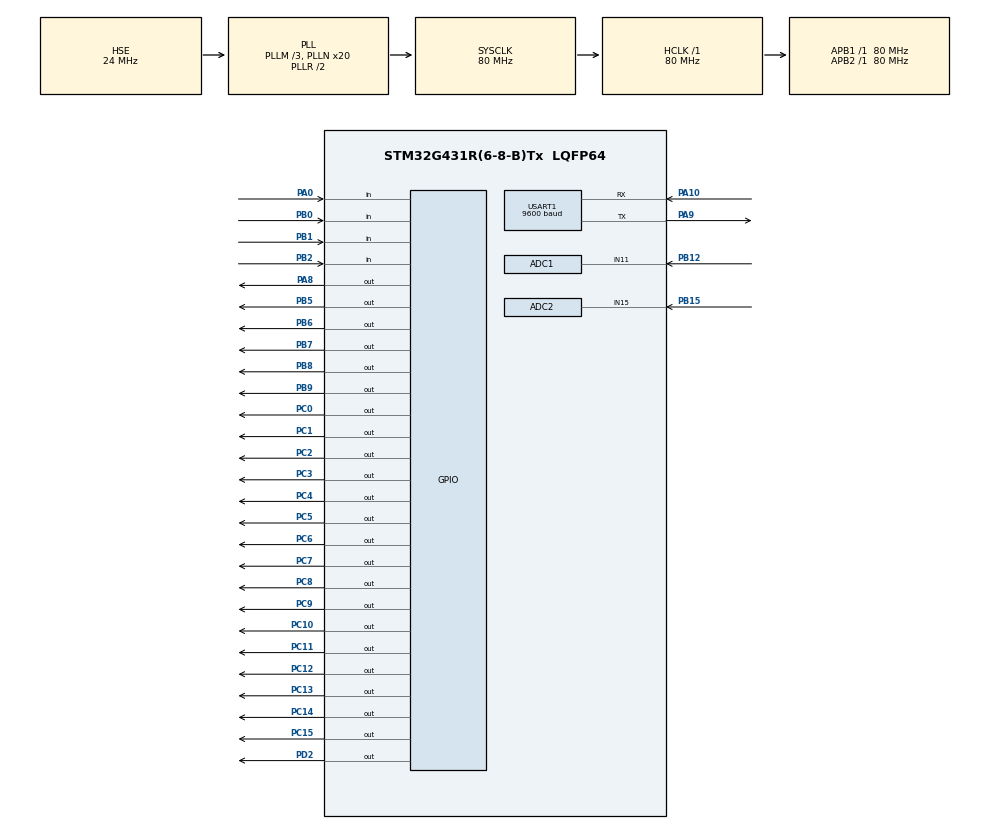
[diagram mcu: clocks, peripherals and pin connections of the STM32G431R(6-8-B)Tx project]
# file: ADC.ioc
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ADC1.Channel-3\#ChannelRegularConversion=ADC_CHANNEL_11
ADC1.ContinuousConvMode=DISABLE
ADC1.NbrOfConversionFlag=1
ADC1.OffsetNumber-3\#ChannelRegularConversion=ADC_OFFSET_NONE
ADC1.Rank-3\#ChannelRegularConversion=1
ADC1.SamplingTime-3\#ChannelRegularConversion=ADC_SAMPLETIME_2CYCLES_5
ADC1.master=1
ADC2.Channel-1\#ChannelRegularConversion=ADC_CHANNEL_15
ADC2.NbrOfConversionFlag=1
ADC2.OffsetNumber-1\#ChannelRegularConversion=ADC_OFFSET_NONE
ADC2.Rank-1\#ChannelRegularConversion=1
ADC2.SamplingTime-1\#ChannelRegularConversion=ADC_SAMPLETIME_2CYCLES_5
Mcu.Family=STM32G4
Mcu.Name=STM32G431R(6-8-B)Tx
Mcu.Package=LQFP64
NVIC.PriorityGroup=NVIC_PRIORITYGROUP_4
NVIC.USART1_IRQn=true\:0\:0\:false\:false\:true\:true\:true\:true
PA0.GPIO_PuPd=GPIO_PULLUP
PA0.Signal=GPIO_Input
PA10.Mode=Asynchronous
PA10.Signal=USART1_RX
PA8.Signal=GPIO_Output
PA9.Mode=Asynchronous
PA9.Signal=USART1_TX
PB0.GPIO_PuPd=GPIO_PULLUP
PB0.Signal=GPIO_Input
PB1.GPIO_PuPd=GPIO_PULLUP
PB1.Signal=GPIO_Input
PB12.Mode=IN11-Single-Ended
PB12.Signal=ADC1_IN11
PB15.Mode=IN15-Single-Ended
PB15.Signal=ADC2_IN15
PB2.GPIO_PuPd=GPIO_PULLUP
PB2.Signal=GPIO_Input
PB5.Signal=GPIO_Output
PB6.Signal=GPIO_Output
PB7.Signal=GPIO_Output
PB8-BOOT0.Signal=GPIO_Output
PB9.Signal=GPIO_Output
PC0.Signal=GPIO_Output
PC1.Signal=GPIO_Output
PC10.PinState=GPIO_PIN_SET
PC10.Signal=GPIO_Output
PC11.PinState=GPIO_PIN_SET
PC11.Signal=GPIO_Output
PC12.PinState=GPIO_PIN_SET
PC12.Signal=GPIO_Output
PC13.PinState=GPIO_PIN_SET
PC13.Signal=GPIO_Output
PC14-OSC32_IN.PinState=GPIO_PIN_SET
PC14-OSC32_IN.Signal=GPIO_Output
PC15-OSC32_OUT.PinState=GPIO_PIN_SET
PC15-OSC32_OUT.Signal=GPIO_Output
PC2.Signal=GPIO_Output
PC3.Signal=GPIO_Output
PC4.Signal=GPIO_Output
PC5.Signal=GPIO_Output
PC6.Signal=GPIO_Output
PC7.Signal=GPIO_Output
PC8.PinState=GPIO_PIN_SET
PC8.Signal=GPIO_Output
PC9.PinState=GPIO_PIN_SET
PC9.Signal=GPIO_Output
PD2.Signal=GPIO_Output
PF0-OSC_IN.Mode=HSE-External-Oscillator
PF0-OSC_IN.Signal=RCC_OSC_IN
PF1-OSC_OUT.Mode=HSE-External-Oscillator
PF1-OSC_OUT.Signal=RCC_OSC_OUT
ProjectManager.HeapSize=0x200
ProjectManager.StackSize=0x400
ProjectManager.TargetToolchain=MDK-ARM V5.32
RCC.ADC12Freq_Value=80000000
RCC.AHBFreq_Value=80000000
RCC.APB1Freq_Value=80000000
RCC.APB1TimFreq_Value=80000000
RCC.APB2Freq_Value=80000000
RCC.APB2TimFreq_Value=80000000
RCC.CortexFreq_Value=80000000
RCC.EXTERNAL_CLOCK_VALUE=12288000
RCC.HCLKFreq_Value=80000000
RCC.HSE_VALUE=24000000
RCC.HSI48_VALUE=48000000
RCC.HSI_VALUE=16000000
RCC.LSE_VALUE=32768
RCC.PLLM=RCC_PLLM_DIV3
RCC.PLLN=20
RCC.PLLSourceVirtual=RCC_PLLSOURCE_HSE
RCC.SYSCLKFreq_VALUE=80000000
RCC.SYSCLKSource=RCC_SYSCLKSOURCE_PLLCLK
RCC.USBFreq_Value=80000000
RCC.VCOOutputFreq_Value=160000000
USART1.BaudRate=9600
USART1.VirtualMode-Asynchronous=VM_ASYNC
VP_SYS_VS_DBSignals.Mode=DisableDeadBatterySignals
board=custom

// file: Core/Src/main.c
/* USER CODE BEGIN Header */
/**
  ******************************************************************************
  * @file           : main.c
  * @brief          : Main program body
  ******************************************************************************
  * @attention
  *
  * Copyright (c) 2024 STMicroelectronics.
  * All rights reserved.
  *
  * This software is licensed under terms that can be found in the LICENSE file
  * in the root directory of this software component.
  * If no LICENSE file comes with this software, it is provided AS-IS.
  *
  ******************************************************************************
  */
/* USER CODE END Header */
#include "main.h"
#include "adc.h"
#include "usart.h"
#include "gpio.h"

/* USER CODE BEGIN Includes */
#include "led.h"
#include "key.h"
#include "myusart.h"
#include "lcd.h"
#include "i2c - hal.h"
#include "myadc.h"
#include "stdio.h"

/* USER CODE END Includes */

void SystemClock_Config(void);

int main(void)
{

  /* MCU Configuration--------------------------------------------------------*/

  /* Reset of all peripherals, Initializes the Flash interface and the Systick. */
  HAL_Init();

  /* Configure the system clock */
  SystemClock_Config();

  /* Initialize all configured peripherals */
  MX_GPIO_Init();
  MX_ADC1_Init();
  MX_ADC2_Init();
  MX_USART1_UART_Init();
  /* USER CODE BEGIN 2 */
    led_disp(0x00);
    LCD_Init();
    LCD_Clear(White);
    LCD_SetBackColor(White);
    LCD_SetTextColor(Blue2);
  /* USER CODE END 2 */

  /* Infinite loop */
  while (1)
  {

    /* USER CODE BEGIN 3 */
      char text[30];//字符数组
       sprintf(text,"      V:%.2f v      ",getADC(&hadc1));//R38（PB12）
     LCD_DisplayStringLine(Line6, (uint8_t *)text);//将text里面的数据打印到第6行

      sprintf(text,"      V:%.2f v     ",getADC(&hadc2));//R37(PB15)
     LCD_DisplayStringLine(Line7, (uint8_t *)text);//将text里面的数据打印到第7行

  }
  /* USER CODE END 3 */
}

void SystemClock_Config(void)
{
  RCC_OscInitTypeDef RCC_OscInitStruct = {0};
  RCC_ClkInitTypeDef RCC_ClkInitStruct = {0};

  /** Configure the main internal regulator output voltage
  */
  HAL_PWREx_ControlVoltageScaling(PWR_REGULATOR_VOLTAGE_SCALE1);

  /** Initializes the RCC Oscillators according to the specified parameters
  * in the RCC_OscInitTypeDef structure.
  */
  RCC_OscInitStruct.OscillatorType = RCC_OSCILLATORTYPE_HSE;
  RCC_OscInitStruct.HSEState = RCC_HSE_ON;
  RCC_OscInitStruct.PLL.PLLState = RCC_PLL_ON;
  RCC_OscInitStruct.PLL.PLLSource = RCC_PLLSOURCE_HSE;
  RCC_OscInitStruct.PLL.PLLM = RCC_PLLM_DIV3;
  RCC_OscInitStruct.PLL.PLLN = 20;
  RCC_OscInitStruct.PLL.PLLP = RCC_PLLP_DIV2;
  RCC_OscInitStruct.PLL.PLLQ = RCC_PLLQ_DIV2;
  RCC_OscInitStruct.PLL.PLLR = RCC_PLLR_DIV2;
  if (HAL_RCC_OscConfig(&RCC_OscInitStruct) != HAL_OK)
  {
    Error_Handler();
  }

  /** Initializes the CPU, AHB and APB buses clocks
  */
  RCC_ClkInitStruct.ClockType = RCC_CLOCKTYPE_HCLK|RCC_CLOCKTYPE_SYSCLK
                              |RCC_CLOCKTYPE_PCLK1|RCC_CLOCKTYPE_PCLK2;
  RCC_ClkInitStruct.SYSCLKSource = RCC_SYSCLKSOURCE_PLLCLK;
  RCC_ClkInitStruct.AHBCLKDivider = RCC_SYSCLK_DIV1;
  RCC_ClkInitStruct.APB1CLKDivider = RCC_HCLK_DIV1;
  RCC_ClkInitStruct.APB2CLKDivider = RCC_HCLK_DIV1;

  if (HAL_RCC_ClockConfig(&RCC_ClkInitStruct, FLASH_LATENCY_2) != HAL_OK)
  {
    Error_Handler();
  }
}

void Error_Handler(void)
{
  __disable_irq();
  while (1)
  {
  }
}
